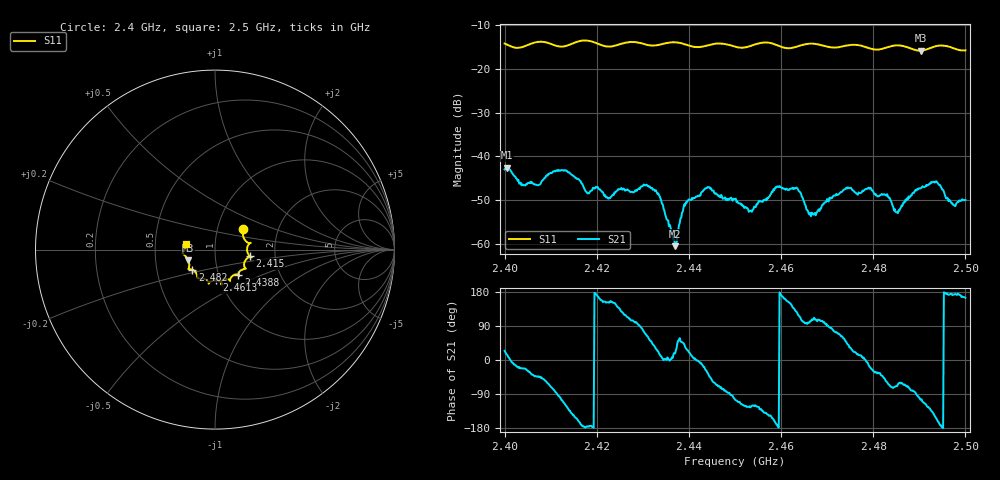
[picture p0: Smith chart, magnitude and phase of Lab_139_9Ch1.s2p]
# Hz S RI R
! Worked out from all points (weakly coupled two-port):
!   601 points, 2.4 GHz to 2.5 GHz, reference 50 ohm
!   highest |S21| = -42.57 dB at 2.4005 GHz (marker M1); lowest = -60.5 dB at 2.437 GHz (marker M2)
!   lowest |S11| = -15.9 dB at 2.4903 GHz (marker M3), VSWR 1.38, Z = 36.8 - j4.44 ohm
!   |S11| at or under -10 dB: start of sweep to end of sweep
!   S12 and S22 are empty: the file has one direction only
!   S11 on the Smith chart (normalised r, x): 2.4 GHz: 1.33, +0.31; 2.415 GHz: 1.47, -0.11; 2.4388 GHz: 1.24, -0.36; 2.4613 GHz: 0.96, -0.34; 2.482 GHz: 0.76, -0.17; 2.5 GHz: 0.72, +0.05
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2.4e9  0.1574 0.1122  0.00648 0.00291  0 0  0 0
2.4005e9  0.156 0.1052  0.00722 0.00179  0 0  0 0
2.404167e9  0.1728 0.0462  0.00431 -0.00181  0 0  0 0
2.415e9  0.1925 -0.0358  -0.0049 -0.00336  0 0  0 0
2.416667e9  0.2037 -0.0435  -0.00487 -0.000758  0 0  0 0
2.4225e9  0.166 -0.0657  -0.00292 0.00152  0 0  0 0
2.4305e9  0.1538 -0.1105  0.00162 0.00437  0 0  0 0
2.433333e9  0.1322 -0.1314  0.0035 0.00146  0 0  0 0
2.437e9  0.1349 -0.1475  0.000903 0.000283  0 0  0 0
2.438833e9  0.1298 -0.1409  0.00186 0.00183  0 0  0 0
2.444e9  0.0851 -0.1633  0.00371 -0.00246  0 0  0 0
2.45e9  0.0686 -0.1648  -0.000826 -0.00315  0 0  0 0
2.4535e9  0.0358 -0.1788  -0.00131 -0.00203  0 0  0 0
2.461333e9  0.00771 -0.1709  -0.00382 0.00178  0 0  0 0
2.463667e9  -0.0241 -0.1785  -0.00206 0.00367  0 0  0 0
2.466667e9  -0.0346 -0.1899  -0.000682 0.00218  0 0  0 0
2.474333e9  -0.0893 -0.1608  0.00313 0.00294  0 0  0 0
2.482e9  -0.1261 -0.1118  0.00272 -0.00243  0 0  0 0
2.483333e9  -0.1398 -0.1089  0.00145 -0.00306  0 0  0 0
2.485333e9  -0.149 -0.1088  0.000957 -0.00204  0 0  0 0
2.490333e9  -0.1495 -0.0588  -0.00113 -0.00419  0 0  0 0
2.5e9  -0.1589 0.0326  -0.00307 0.000869  0 0  0 0
